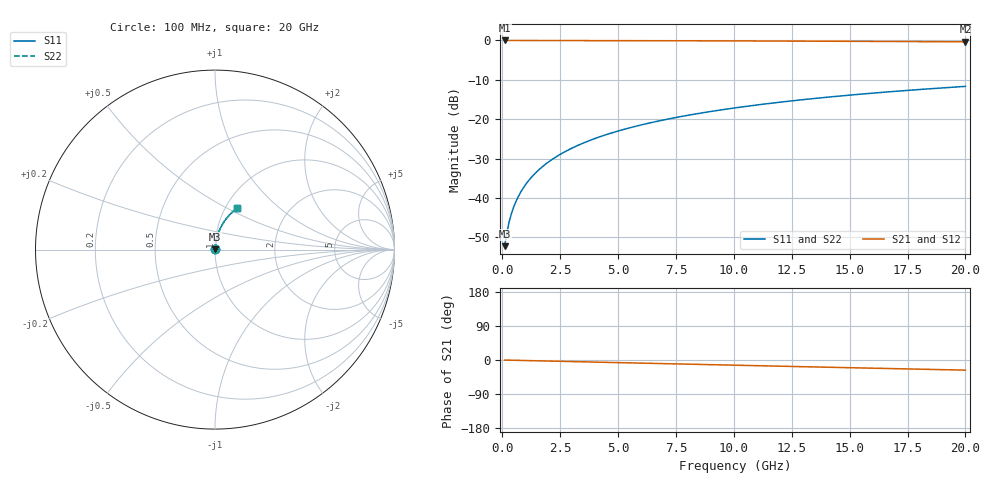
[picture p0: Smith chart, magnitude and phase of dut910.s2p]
! Touchstone file exported from HFSS 2026.1.0
!  File:  C:/ffzhzh/LocalFiles/Ansys_Project_Files/temp_train_BSMRDL_910_1783171577_18472.aedt
!  Generated:  09:27:40 PM Jul  4, 2026
!  Design:  BSMRDL
!  Project:  temp_train_BSMRDL_910_1783171577_18472
! Variables:
!  h_bsmrdl = 2.8um
!  h_ox = 20um
!  h_rdl = 5um
!  h_sub = 80um
!  h_tmrdl = 5um
!  h_tsv = 80um
!  h_via = 3um
!  l_bsmrdl = 348.37um
!  l_sub = 748.37um
!  l_tmrdl = 200um
!  m_sub = 200um
!  pitch = 57.46um
!  r_tsv = 6um
!  s_tmrdl = 10um
!  w_bsmrdl = 28.5um
!  w_sub = 500um
!  w_tmrdl = 12um
!  x_tsv_center1 = 206um
!  x_tsv_center2 = 582.87um
!  x_tsv_center3 = 794.87um
!  x_tsv_center4 = 1171.74um
!  x_tsv_center5 = 1383.74um
!  x_tsv_center6 = 1760.61um
# GHz S MA R 50.000000
! Terminal data exported
! Port[1] = BSM_RDL1_1_T1
! Port[2] = BSM_RDL1_1_T2
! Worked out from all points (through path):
!   200 points, 100 MHz to 20 GHz, reference 50 ohm
!   highest |S21| = -0.02 dB at 100 MHz (marker M1); lowest = -0.4 dB at 20 GHz (marker M2)
!   group delay of S21, straight-line fit = 3.72 ps
!   lowest |S11| = -52.3 dB at 100 MHz (marker M3), VSWR 1.00, Z = 50.2 + j0.157 ohm
!   |S11| at or under -10 dB: start of sweep to end of sweep
!   |S22| runs from -52.3 to -11.7 dB; largest |S21 - S12| = 3.1e-15
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0.1  0.00244 40.0  0.9981 -0.1  0.9981 -0.1  0.00244 40.0
! Gamma 0 0 0 0
! Port Impedance 50 0 50 0
0.2  0.003668 57.6  0.998 -0.3  0.998 -0.3  0.003668 57.6
0.3  0.005025 65.4  0.9979 -0.4  0.9979 -0.4  0.005025 65.4
0.4  0.006399 69.8  0.9978 -0.6  0.9978 -0.6  0.006399 69.8
0.5  0.007772 72.7  0.9977 -0.7  0.9977 -0.7  0.007772 72.7
0.6  0.009145 74.7  0.9977 -0.9  0.9977 -0.9  0.009145 74.7
0.8  0.0119 77.4  0.9976 -1.1  0.9976 -1.1  0.0119 77.4
1.1  0.01606 79.7  0.9974 -1.5  0.9974 -1.5  0.01606 79.7
1.3  0.01885 80.6  0.9973 -1.8  0.9973 -1.8  0.01885 80.6
1.6  0.02306 81.5  0.9972 -2.2  0.9972 -2.2  0.02306 81.5
2.1  0.03009 82.1  0.997 -2.9  0.997 -2.9  0.03009 82.1
2.7  0.03853 82.2  0.9966 -3.8  0.9966 -3.8  0.03853 82.2
3.5  0.04976 81.9  0.9959 -4.9  0.9959 -4.9  0.04976 81.9
4.2  0.05956 81.3  0.9952 -5.8  0.9952 -5.8  0.05956 81.3
5  0.0707 80.5  0.9943 -6.9  0.9943 -6.9  0.0707 80.5
5.9  0.08314 79.5  0.9931 -8.2  0.9931 -8.2  0.08313 79.5
6.8  0.09547 78.4  0.9918 -9.4  0.9918 -9.4  0.09547 78.4
8.3  0.1158 76.5  0.9892 -11.4  0.9892 -11.4  0.1158 76.6
10.1  0.1397 74.3  0.9857 -13.9  0.9857 -13.9  0.1397 74.3
13.4  0.1821 70.0  0.9779 -18.2  0.9779 -18.2  0.1821 70.1
16.7  0.2224 65.9  0.9689 -22.5  0.9689 -22.5  0.2224 65.9
20  0.2606 61.8  0.9589 -26.8  0.9589 -26.8  0.2606 61.9
